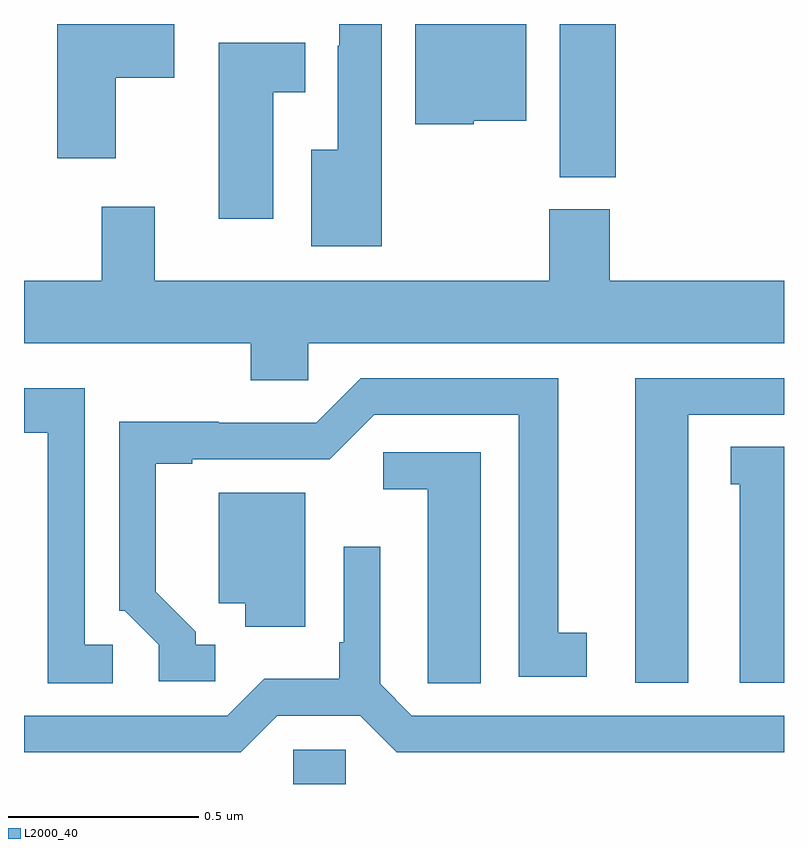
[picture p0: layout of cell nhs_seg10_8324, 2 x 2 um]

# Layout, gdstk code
import gdstk
lib = gdstk.Library(unit=1e-6, precision=1e-09)
def R(c, l, rs):  # rectangles x0, y0, x1, y1
    for r in rs: c.add(gdstk.rectangle(r[:2], r[2:], *l))
def P(c, l, *ps):  # polygons
    for p in ps: c.add(gdstk.Polygon(p, *l))
L2000_40 = (2000, 40)

nhs_seg10_8324 = lib.new_cell('nhs_seg10_8324')
R(nhs_seg10_8324, L2000_40, [(215.709,1288.5,215.847,1288.59), (216.41,1290.097,216.557,1290.5)])
P(nhs_seg10_8324, L2000_40, [(216.183,1290.245),(216.322,1290.245),(216.322,1290.5),(216.029,1290.5),(216.029,1290.236),(216.183,1290.236)],
  [(215.941,1290.5),(215.829,1290.5),(215.829,1290.443),(215.825,1290.443),(215.825,1290.169),(215.756,1290.169),(215.756,1289.915),(215.941,1289.915)],
  [(215.242,1290.358),(215.395,1290.358),(215.395,1290.5),(215.087,1290.5),(215.087,1290.147),(215.242,1290.147)],
  [(215.656,1290.32),(215.74,1290.32),(215.74,1290.451),(215.513,1290.451),(215.513,1289.988),(215.656,1289.988)],
  [(215.748,1289.66),(217,1289.66),(217,1289.824),(216.542,1289.824),(216.542,1290.012),(216.382,1290.012),(216.382,1289.824),(215.344,1289.824),(215.344,1290.019),(215.204,1290.019),(215.204,1289.824),(215,1289.824),(215,1289.66),(215.597,1289.66),(215.597,1289.562),(215.748,1289.562)],
  [(216.748,1289.472),(217,1289.472),(217,1289.568),(216.608,1289.568),(216.608,1288.767),(216.748,1288.767)],
  [(215.503,1288.866),(215.452,1288.866),(215.452,1288.901),(215.347,1289.006),(215.347,1289.343),(215.443,1289.343),(215.443,1289.355),(215.805,1289.355),(215.922,1289.472),(216.302,1289.472),(216.302,1288.782),(216.481,1288.782),(216.481,1288.898),(216.406,1288.898),(216.406,1289.568),(215.886,1289.568),(215.769,1289.451),(215.513,1289.451),(215.513,1289.453),(215.25,1289.453),(215.25,1288.956),(215.265,1288.956),(215.355,1288.866),(215.355,1288.77),(215.503,1288.77)],
  [(215.233,1288.866),(215.16,1288.866),(215.16,1289.541),(215,1289.541),(215,1289.425),(215.063,1289.425),(215.063,1288.765),(215.233,1288.765)],
  [(217,1289.387),(216.86,1289.387),(216.86,1289.289),(216.884,1289.289),(216.884,1288.767),(217,1288.767)],
  [(216.202,1289.373),(215.946,1289.373),(215.946,1289.276),(216.062,1289.276),(216.062,1288.873),(216.063,1288.873),(216.063,1288.765),(216.202,1288.765)],
  [(215.74,1289.266),(215.513,1289.266),(215.513,1288.976),(215.582,1288.976),(215.582,1288.914),(215.74,1288.914)],
  [(215.667,1288.68),(215.885,1288.68),(215.981,1288.584),(217,1288.584),(217,1288.68),(216.021,1288.68),(215.937,1288.764),(215.937,1289.125),(215.841,1289.125),(215.841,1288.873),(215.829,1288.873),(215.829,1288.777),(215.632,1288.777),(215.535,1288.68),(215,1288.68),(215,1288.584),(215.571,1288.584)])

lib.write_gds('nhs_seg10_8324.gds')
